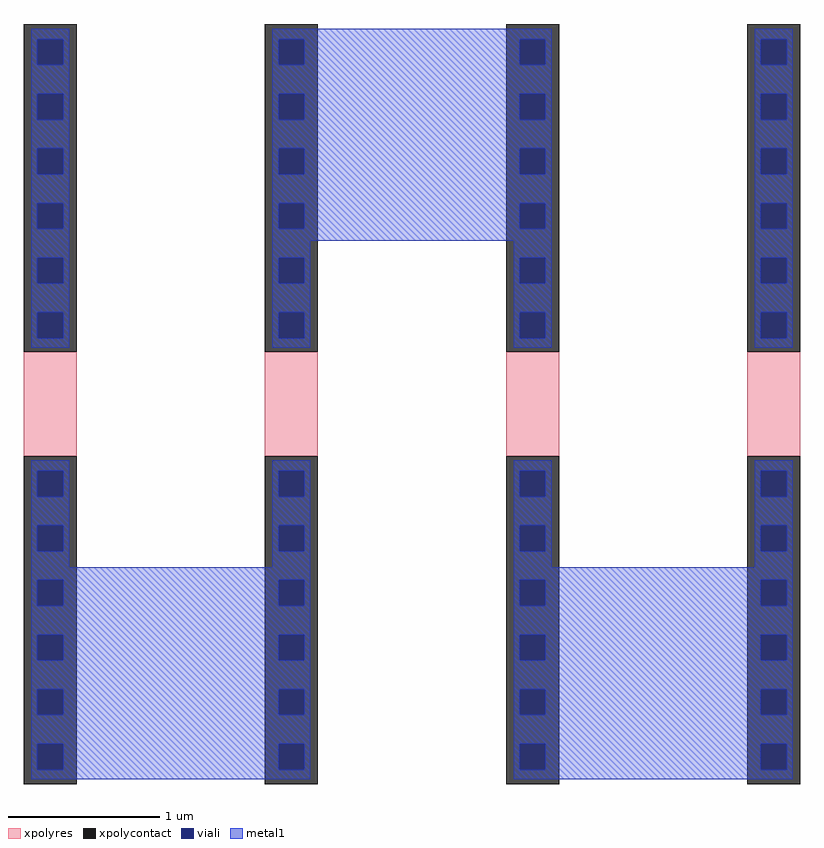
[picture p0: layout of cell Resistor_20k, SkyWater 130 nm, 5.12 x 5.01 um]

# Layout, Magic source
magic
tech sky130A
magscale 1 2
<< metal1 >>
rect 1500 1406 1768 1686
rect 1182 696 1450 976
rect 1818 696 2086 976
use sky130_fd_pr__res_xhigh_po_0p35_2RLX6B  sky130_fd_pr__res_xhigh_po_0p35_2RLX6B_0
transform 1 0 1634 0 1 1191
box -512 -501 512 501
<< properties >>
string path 9.090 4.180 10.430 4.180 10.430 4.180 
<< end >>

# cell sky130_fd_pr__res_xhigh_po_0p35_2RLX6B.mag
magic
tech sky130A
magscale 1 2
<< xpolycontact >>
rect -512 69 -442 501
rect -512 -501 -442 -69
rect -194 69 -124 501
rect -194 -501 -124 -69
rect 124 69 194 501
rect 124 -501 194 -69
rect 442 69 512 501
rect 442 -501 512 -69
<< xpolyres >>
rect -512 -69 -442 69
rect -194 -69 -124 69
rect 124 -69 194 69
rect 442 -69 512 69
<< viali >>
rect -494 447 -460 481
rect -494 375 -460 409
rect -494 303 -460 337
rect -494 231 -460 265
rect -494 159 -460 193
rect -494 87 -460 121
rect -176 447 -142 481
rect -176 375 -142 409
rect -176 303 -142 337
rect -176 231 -142 265
rect -176 159 -142 193
rect -176 87 -142 121
rect 142 447 176 481
rect 142 375 176 409
rect 142 303 176 337
rect 142 231 176 265
rect 142 159 176 193
rect 142 87 176 121
rect 460 447 494 481
rect 460 375 494 409
rect 460 303 494 337
rect 460 231 494 265
rect 460 159 494 193
rect 460 87 494 121
rect -494 -122 -460 -88
rect -494 -194 -460 -160
rect -494 -266 -460 -232
rect -494 -338 -460 -304
rect -494 -410 -460 -376
rect -494 -482 -460 -448
rect -176 -122 -142 -88
rect -176 -194 -142 -160
rect -176 -266 -142 -232
rect -176 -338 -142 -304
rect -176 -410 -142 -376
rect -176 -482 -142 -448
rect 142 -122 176 -88
rect 142 -194 176 -160
rect 142 -266 176 -232
rect 142 -338 176 -304
rect 142 -410 176 -376
rect 142 -482 176 -448
rect 460 -122 494 -88
rect 460 -194 494 -160
rect 460 -266 494 -232
rect 460 -338 494 -304
rect 460 -410 494 -376
rect 460 -482 494 -448
<< metal1 >>
rect -502 481 -452 495
rect -502 447 -494 481
rect -460 447 -452 481
rect -502 409 -452 447
rect -502 375 -494 409
rect -460 375 -452 409
rect -502 337 -452 375
rect -502 303 -494 337
rect -460 303 -452 337
rect -502 265 -452 303
rect -502 231 -494 265
rect -460 231 -452 265
rect -502 193 -452 231
rect -502 159 -494 193
rect -460 159 -452 193
rect -502 121 -452 159
rect -502 87 -494 121
rect -460 87 -452 121
rect -502 74 -452 87
rect -184 481 -134 495
rect -184 447 -176 481
rect -142 447 -134 481
rect -184 409 -134 447
rect -184 375 -176 409
rect -142 375 -134 409
rect -184 337 -134 375
rect -184 303 -176 337
rect -142 303 -134 337
rect -184 265 -134 303
rect -184 231 -176 265
rect -142 231 -134 265
rect -184 193 -134 231
rect -184 159 -176 193
rect -142 159 -134 193
rect -184 121 -134 159
rect -184 87 -176 121
rect -142 87 -134 121
rect -184 74 -134 87
rect 134 481 184 495
rect 134 447 142 481
rect 176 447 184 481
rect 134 409 184 447
rect 134 375 142 409
rect 176 375 184 409
rect 134 337 184 375
rect 134 303 142 337
rect 176 303 184 337
rect 134 265 184 303
rect 134 231 142 265
rect 176 231 184 265
rect 134 193 184 231
rect 134 159 142 193
rect 176 159 184 193
rect 134 121 184 159
rect 134 87 142 121
rect 176 87 184 121
rect 134 74 184 87
rect 452 481 502 495
rect 452 447 460 481
rect 494 447 502 481
rect 452 409 502 447
rect 452 375 460 409
rect 494 375 502 409
rect 452 337 502 375
rect 452 303 460 337
rect 494 303 502 337
rect 452 265 502 303
rect 452 231 460 265
rect 494 231 502 265
rect 452 193 502 231
rect 452 159 460 193
rect 494 159 502 193
rect 452 121 502 159
rect 452 87 460 121
rect 494 87 502 121
rect 452 74 502 87
rect -502 -88 -452 -74
rect -502 -122 -494 -88
rect -460 -122 -452 -88
rect -502 -160 -452 -122
rect -502 -194 -494 -160
rect -460 -194 -452 -160
rect -502 -232 -452 -194
rect -502 -266 -494 -232
rect -460 -266 -452 -232
rect -502 -304 -452 -266
rect -502 -338 -494 -304
rect -460 -338 -452 -304
rect -502 -376 -452 -338
rect -502 -410 -494 -376
rect -460 -410 -452 -376
rect -502 -448 -452 -410
rect -502 -482 -494 -448
rect -460 -482 -452 -448
rect -502 -495 -452 -482
rect -184 -88 -134 -74
rect -184 -122 -176 -88
rect -142 -122 -134 -88
rect -184 -160 -134 -122
rect -184 -194 -176 -160
rect -142 -194 -134 -160
rect -184 -232 -134 -194
rect -184 -266 -176 -232
rect -142 -266 -134 -232
rect -184 -304 -134 -266
rect -184 -338 -176 -304
rect -142 -338 -134 -304
rect -184 -376 -134 -338
rect -184 -410 -176 -376
rect -142 -410 -134 -376
rect -184 -448 -134 -410
rect -184 -482 -176 -448
rect -142 -482 -134 -448
rect -184 -495 -134 -482
rect 134 -88 184 -74
rect 134 -122 142 -88
rect 176 -122 184 -88
rect 134 -160 184 -122
rect 134 -194 142 -160
rect 176 -194 184 -160
rect 134 -232 184 -194
rect 134 -266 142 -232
rect 176 -266 184 -232
rect 134 -304 184 -266
rect 134 -338 142 -304
rect 176 -338 184 -304
rect 134 -376 184 -338
rect 134 -410 142 -376
rect 176 -410 184 -376
rect 134 -448 184 -410
rect 134 -482 142 -448
rect 176 -482 184 -448
rect 134 -495 184 -482
rect 452 -88 502 -74
rect 452 -122 460 -88
rect 494 -122 502 -88
rect 452 -160 502 -122
rect 452 -194 460 -160
rect 494 -194 502 -160
rect 452 -232 502 -194
rect 452 -266 460 -232
rect 494 -266 502 -232
rect 452 -304 502 -266
rect 452 -338 460 -304
rect 494 -338 502 -304
rect 452 -376 502 -338
rect 452 -410 460 -376
rect 494 -410 502 -376
rect 452 -448 502 -410
rect 452 -482 460 -448
rect 494 -482 502 -448
rect 452 -495 502 -482
<< end >>
